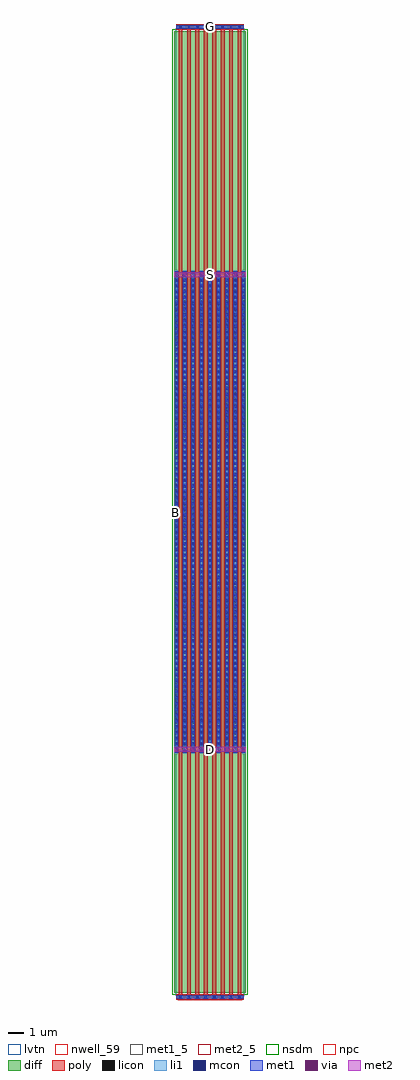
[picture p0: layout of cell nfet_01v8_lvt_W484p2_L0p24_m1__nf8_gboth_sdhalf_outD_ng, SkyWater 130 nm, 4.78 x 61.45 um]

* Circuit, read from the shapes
.subckt nfet_01v8_lvt_W484p2_L0p24_m1__nf8_gboth_sdhalf_outD_ng B D G S
XM1 S G D B sky130_fd_pr__nfet_01v8_lvt w=60.53 l=0.24 m=8
.ends

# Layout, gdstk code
import gdstk
lib = gdstk.Library(unit=1e-6, precision=1e-09)
def R(c, l, rs):  # rectangles x0, y0, x1, y1
    for r in rs: c.add(gdstk.rectangle(r[:2], r[2:], *l))
def A(c, l, x, y, w, h, nx, ny, dx, dy):  # array of equal rectangles
    R(c, l, [(x+i*dx, y+j*dy, x+i*dx+w, y+j*dy+h) for i in range(nx) for j in range(ny)])
nwell_59 = (64, 59)
diff = (65, 20)
poly = (66, 20)
licon = (66, 44)
li1 = (67, 20)
mcon = (67, 44)
met1_5 = (68, 5)
met1 = (68, 20)
via = (68, 44)
met2_5 = (69, 5)
met2 = (69, 20)
nsdm = (93, 44)
npc = (95, 20)
lvtn = (125, 44)

sky130_fd_pr__nfet_01v8_ = lib.new_cell('sky130_fd_pr__nfet_01v8_lvt_ACG6H7')
R(sky130_fd_pr__nfet_01v8_, diff, [(-2.265,-30.265,2.265,30.265)])
A(sky130_fd_pr__nfet_01v8_, poly, -1.975, -30.375, 0.24, 60.75, 8, 1, 0.53, 0)
R(sky130_fd_pr__nfet_01v8_, poly, [(-2.12,-30.705,2.12,-30.375), (-2.12,30.375,2.12,30.705)])
A(sky130_fd_pr__nfet_01v8_, licon, -1.94, -30.625, 0.17, 0.17, 8, 2, 0.53, 61.08)
A(sky130_fd_pr__nfet_01v8_, licon, -2.205, -15.045, 0.17, 0.17, 9, 89, 0.53, 0.34)
A(sky130_fd_pr__nfet_01v8_, li1, -2.205, -15.18, 0.17, 30.36, 9, 1, 0.53, 0)
R(sky130_fd_pr__nfet_01v8_, li1, [(-2.12,-30.625,2.12,-30.455), (-2.12,30.455,2.12,30.625)])
A(sky130_fd_pr__nfet_01v8_, mcon, -1.94, -30.625, 0.17, 0.17, 8, 2, 0.53, 61.08)
A(sky130_fd_pr__nfet_01v8_, mcon, -2.205, -15.025, 0.17, 0.17, 9, 84, 0.53, 0.36)
A(sky130_fd_pr__nfet_01v8_, met1, -2, -30.655, 0.29, 0.03, 8, 2, 0.53, 0.2)
A(sky130_fd_pr__nfet_01v8_, met1, -2.235, -15.16, 0.23, 30.32, 9, 1, 0.53, 0)
A(sky130_fd_pr__nfet_01v8_, met1, -2, 30.425, 0.29, 0.03, 8, 2, 0.53, 0.2)
R(sky130_fd_pr__nfet_01v8_, met1, [(-2.12,-30.625,2.12,-30.455), (-2.12,30.455,2.12,30.625)])
R(sky130_fd_pr__nfet_01v8_, nsdm, [(-2.39,-30.39,2.39,30.39)])
R(sky130_fd_pr__nfet_01v8_, npc, [(-2.04,-30.725,2.04,-30.355), (-2.04,30.355,2.04,30.725)])
R(sky130_fd_pr__nfet_01v8_, lvtn, [(-2.155,-30.445,2.155,30.445)])
sky130_fd_pr__nfet_01v8_.add(gdstk.Label('D0', (-2.12,0), layer=67, texttype=5))
sky130_fd_pr__nfet_01v8_.add(gdstk.Label('G', (1.855,30.54), layer=67, texttype=5))
sky130_fd_pr__nfet_01v8_.add(gdstk.Label('G', (1.325,30.54), layer=67, texttype=5))
sky130_fd_pr__nfet_01v8_.add(gdstk.Label('G', (0.795,30.54), layer=67, texttype=5))
sky130_fd_pr__nfet_01v8_.add(gdstk.Label('G', (0.265,30.54), layer=67, texttype=5))
sky130_fd_pr__nfet_01v8_.add(gdstk.Label('G', (-0.265,30.54), layer=67, texttype=5))
sky130_fd_pr__nfet_01v8_.add(gdstk.Label('G', (-0.795,30.54), layer=67, texttype=5))
sky130_fd_pr__nfet_01v8_.add(gdstk.Label('G', (-1.325,30.54), layer=67, texttype=5))
sky130_fd_pr__nfet_01v8_.add(gdstk.Label('G', (-1.855,30.54), layer=67, texttype=5))
sky130_fd_pr__nfet_01v8_.add(gdstk.Label('S1', (-1.59,0), layer=67, texttype=5))
sky130_fd_pr__nfet_01v8_.add(gdstk.Label('D2', (-1.06,0), layer=67, texttype=5))
sky130_fd_pr__nfet_01v8_.add(gdstk.Label('S3', (-0.53,0), layer=67, texttype=5))
sky130_fd_pr__nfet_01v8_.add(gdstk.Label('D4', (0,0), layer=67, texttype=5))
sky130_fd_pr__nfet_01v8_.add(gdstk.Label('S5', (0.53,0), layer=67, texttype=5))
sky130_fd_pr__nfet_01v8_.add(gdstk.Label('D6', (1.06,0), layer=67, texttype=5))
sky130_fd_pr__nfet_01v8_.add(gdstk.Label('S7', (1.59,0), layer=67, texttype=5))

nfet_01v8_lvt_w484p2_l0p = lib.new_cell('nfet_01v8_lvt_W484p2_L0p24_m1__nf8_gboth_sdhalf_outD_ng')
R(nfet_01v8_lvt_w484p2_l0p, nwell_59, [(0.05,30.655,0.15,30.755)])
R(nfet_01v8_lvt_w484p2_l0p, met1_5, [(0.145,61.13,4.385,61.36)])
A(nfet_01v8_lvt_w484p2_l0p, met1, 0.015, 15.595, 0.26, 0.32, 5, 1, 1.06, 0)
A(nfet_01v8_lvt_w484p2_l0p, met1, 0.545, 45.495, 0.26, 0.32, 4, 1, 1.06, 0)
R(nfet_01v8_lvt_w484p2_l0p, met1, [(0.145,61.13,4.385,61.36)])
A(nfet_01v8_lvt_w484p2_l0p, via, 0.07, 15.68, 0.15, 0.15, 5, 1, 1.06, 0)
A(nfet_01v8_lvt_w484p2_l0p, via, 0.6, 45.58, 0.15, 0.15, 4, 1, 1.06, 0)
R(nfet_01v8_lvt_w484p2_l0p, met2_5, [(0.01,15.595,4.52,15.915), (0.01,45.495,4.52,45.815)])
R(nfet_01v8_lvt_w484p2_l0p, met2, [(0.01,15.595,4.52,15.915), (0.01,45.495,4.52,45.815)])
nfet_01v8_lvt_w484p2_l0p.add(gdstk.Reference(sky130_fd_pr__nfet_01v8_, (2.265,30.705)))
nfet_01v8_lvt_w484p2_l0p.add(gdstk.Label('S', (2.265,45.655), layer=69, texttype=5))
nfet_01v8_lvt_w484p2_l0p.add(gdstk.Label('D', (2.265,15.755), layer=69, texttype=5))
nfet_01v8_lvt_w484p2_l0p.add(gdstk.Label('G', (2.265,61.245), layer=68, texttype=5))
nfet_01v8_lvt_w484p2_l0p.add(gdstk.Label('B', (0.1,30.705), layer=64, texttype=59))

lib.write_gds('nfet_01v8_lvt_W484p2_L0p24_m1__nf8_gboth_sdhalf_outD_ng.gds')
